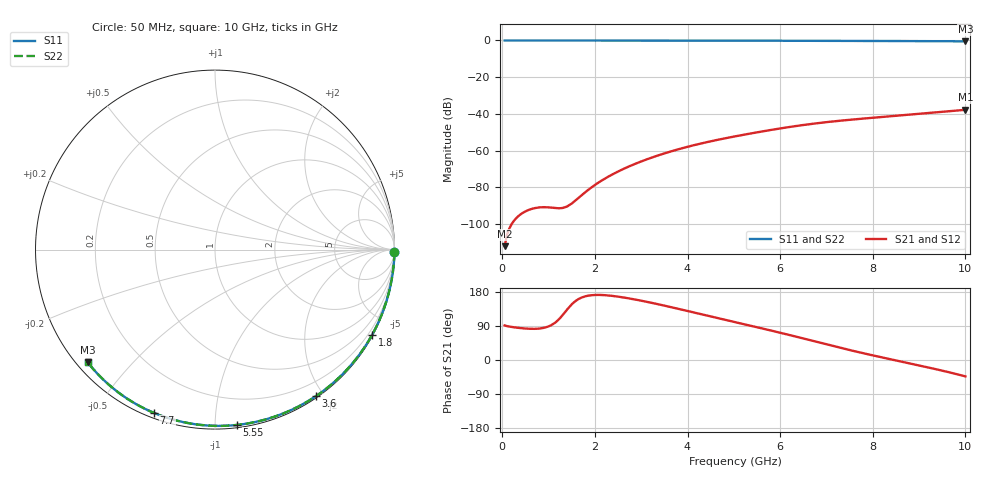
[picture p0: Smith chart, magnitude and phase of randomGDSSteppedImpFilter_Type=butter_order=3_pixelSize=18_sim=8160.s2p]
! freq	dB(S11)	phase(S11)	dB(S12)	phase(S12)
!  dB(S21)	phase(S21)	dB(S22)	phase(S22)
!S-par simulation data
#  GHz  S  DB  R 50
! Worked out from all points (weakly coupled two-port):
!   200 points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, 50 MHz to 10 GHz, reference 50 ohm
!   highest |S21| = -37.82 dB at 10 GHz (marker M1); lowest = -112.1 dB at 50 MHz (marker M2)
!   lowest |S11| = -0.5 dB at 10 GHz (marker M3), VSWR 37.11, Z = 1.54 - j19 ohm
!   |S11| at or under -10 dB: nowhere
!   |S22| runs from -0.5 to 0.0 dB; largest |S21 - S12| = 0
!   S11 on the Smith chart (normalised r, x): 50 MHz: open; 1.8 GHz: 0.03, -3.95; 3.6 GHz: 0.02, -1.90; 5.55 GHz: 0.02, -1.13; 7.7 GHz: 0.02, -0.69; 10 GHz: 0.03, -0.38
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0.05  -0.00 -0.8  -112.14 91.3  -112.14 91.3  -0.00 -0.8
0.45  -0.01 -7.2  -93.86 83.5  -93.86 83.5  -0.01 -7.2
0.9  -0.02 -14.4  -90.88 85.0  -90.88 85.0  -0.02 -14.4
1.75  -0.04 -27.6  -83.59 166.5  -83.59 166.5  -0.04 -27.6
1.8  -0.04 -28.4  -82.56 168.3  -82.56 168.3  -0.04 -28.4
1.9  -0.04 -30.0  -80.60 170.6  -80.60 170.6  -0.04 -30.0
1.95  -0.04 -30.7  -79.68 171.2  -79.68 171.2  -0.04 -30.7
2.25  -0.04 -35.3  -74.80 170.7  -74.80 170.7  -0.04 -35.3
2.55  -0.05 -39.9  -70.82 166.3  -70.82 166.3  -0.05 -39.9
2.95  -0.06 -45.9  -66.44 157.7  -66.44 157.7  -0.06 -45.9
3.4  -0.07 -52.6  -62.37 146.2  -62.37 146.2  -0.07 -52.6
3.6  -0.08 -55.5  -60.79 140.7  -60.79 140.7  -0.07 -55.5
3.9  -0.08 -59.8  -58.64 132.2  -58.64 132.2  -0.08 -59.8
4.25  -0.09 -64.8  -56.41 122.0  -56.41 122.0  -0.09 -64.8
5.05  -0.12 -76.0  -52.16 99.1  -52.16 99.1  -0.12 -76.0
5.55  -0.13 -82.8  -49.87 85.1  -49.87 85.1  -0.13 -82.8
6.15  -0.16 -90.7  -47.37 67.5  -47.37 67.5  -0.16 -90.7
6.7  -0.19 -97.9  -45.43 50.6  -45.43 50.6  -0.19 -97.9
7.7  -0.25 -110.5  -42.80 20.6  -42.80 20.6  -0.25 -110.5
8.35  -0.30 -118.5  -41.41 2.8  -41.41 2.8  -0.30 -118.5
9.2  -0.38 -128.8  -39.59 -19.7  -39.59 -19.7  -0.38 -128.8
10  -0.47 -138.4  -37.82 -43.2  -37.82 -43.2  -0.47 -138.4
